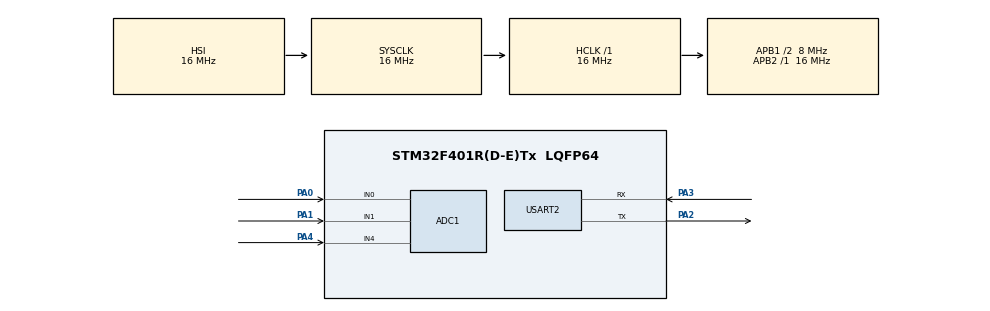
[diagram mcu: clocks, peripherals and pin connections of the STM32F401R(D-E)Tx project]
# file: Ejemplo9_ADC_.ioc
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ADC1.Channel-0\#ChannelRegularConversion=ADC_CHANNEL_0
ADC1.NbrOfConversionFlag=1
ADC1.Rank-0\#ChannelRegularConversion=1
ADC1.SamplingTime-0\#ChannelRegularConversion=ADC_SAMPLETIME_3CYCLES
ADC1.master=1
Mcu.Family=STM32F4
Mcu.Name=STM32F401R(D-E)Tx
Mcu.Package=LQFP64
NVIC.PriorityGroup=NVIC_PRIORITYGROUP_4
PA0-WKUP.Signal=ADCx_IN0
PA1.Signal=ADCx_IN1
PA13.Mode=Serial_Wire
PA13.Signal=SYS_JTMS-SWDIO
PA14.Mode=Serial_Wire
PA14.Signal=SYS_JTCK-SWCLK
PA2.Mode=Asynchronous
PA2.Signal=USART2_TX
PA3.Mode=Asynchronous
PA3.Signal=USART2_RX
PA4.Signal=ADCx_IN4
PH0\ -\ OSC_IN.Mode=HSE-External-Clock-Source
PH0\ -\ OSC_IN.Signal=RCC_OSC_IN
PH1\ -\ OSC_OUT.Mode=HSE-External-Clock-Source
PH1\ -\ OSC_OUT.Signal=RCC_OSC_OUT
ProjectManager.HeapSize=0x200
ProjectManager.StackSize=0x400
ProjectManager.TargetToolchain=STM32CubeIDE
RCC.48MHZClocksFreq_Value=84000000
RCC.AHBFreq_Value=16000000
RCC.APB1CLKDivider=RCC_HCLK_DIV2
RCC.APB1Freq_Value=8000000
RCC.APB1TimFreq_Value=16000000
RCC.APB2Freq_Value=16000000
RCC.APB2TimFreq_Value=16000000
RCC.CortexFreq_Value=16000000
RCC.HCLKFreq_Value=16000000
RCC.HSE_VALUE=8000000
RCC.HSI_VALUE=16000000
RCC.LSE_VALUE=32768
RCC.PLLM=4
RCC.PLLN=84
RCC.SYSCLKFreq_VALUE=16000000
RCC.VCOOutputFreq_Value=336000000
SH.ADCx_IN0.0=ADC1_IN0,IN0
SH.ADCx_IN1.0=ADC1_IN1,IN1
SH.ADCx_IN4.0=ADC1_IN4,IN4
USART2.VirtualMode=VM_ASYNC
board=custom

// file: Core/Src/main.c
/* USER CODE BEGIN Header */
/**
  ******************************************************************************
  * @file           : main.c
  * @brief          : Main program body
  ******************************************************************************
  * @attention
  *
  * Copyright (c) 2023 STMicroelectronics.
  * All rights reserved.
  *
  * This software is licensed under terms that can be found in the LICENSE file
  * in the root directory of this software component.
  * If no LICENSE file comes with this software, it is provided AS-IS.
  *
  ******************************************************************************
  */
/* USER CODE END Header */
#include "main.h"

/* USER CODE BEGIN Includes */
#include "stdio.h"
#include "string.h"
/* USER CODE END Includes */

ADC_HandleTypeDef hadc1;

UART_HandleTypeDef huart2;

void SystemClock_Config(void);
static void MX_GPIO_Init(void);
static void MX_ADC1_Init(void);
static void MX_USART2_UART_Init(void);

/* USER CODE BEGIN 0 */
int __io_putchar(int ch){

	  HAL_UART_Transmit(&huart2, (const uint8_t *)&ch, (uint16_t)1, HAL_MAX_DELAY);

	  return ch;
}
uint32_t AnalogRead(uint32_t channel){

	   uint32_t ADC_VALUE;

	  ADC_ChannelConfTypeDef sConfig = {0};

	    sConfig.Channel = channel;
	    sConfig.Rank = 1;
	    sConfig.SamplingTime = ADC_SAMPLETIME_3CYCLES;
	    if (HAL_ADC_ConfigChannel(&hadc1, &sConfig) != HAL_OK)
	    {
	      Error_Handler();
	    }
	    HAL_ADC_Start(&hadc1);
	    if(HAL_ADC_PollForConversion(&hadc1, 1000000)==HAL_OK){

	    	ADC_VALUE = HAL_ADC_GetValue(&hadc1);
	    }
	    HAL_ADC_Stop(&hadc1);
	    return ADC_VALUE;
}
uint16_t adc[3];
/* USER CODE END 0 */

int main(void)
{

  /* MCU Configuration--------------------------------------------------------*/

  /* Reset of all peripherals, Initializes the Flash interface and the Systick. */
  HAL_Init();

  /* Configure the system clock */
  SystemClock_Config();

  /* Initialize all configured peripherals */
  MX_GPIO_Init();
  MX_ADC1_Init();
  MX_USART2_UART_Init();

  /* Infinite loop */
  /* USER CODE BEGIN WHILE */
  while (1)
  {
		 adc[0] =  	AnalogRead(ADC_CHANNEL_0);
		 adc[1] = 	AnalogRead(ADC_CHANNEL_1);
		 adc[2] =	AnalogRead(ADC_CHANNEL_4);

		 printf("ADC0->%u   ADC1->%u   ADC4->%u   \n\r",adc[0],adc[1],adc[2]);
		 HAL_Delay(500);

    /* USER CODE END WHILE */

  }
}

void SystemClock_Config(void)
{
  RCC_OscInitTypeDef RCC_OscInitStruct = {0};
  RCC_ClkInitTypeDef RCC_ClkInitStruct = {0};

  /** Configure the main internal regulator output voltage
  */
  __HAL_RCC_PWR_CLK_ENABLE();
  __HAL_PWR_VOLTAGESCALING_CONFIG(PWR_REGULATOR_VOLTAGE_SCALE2);

  /** Initializes the RCC Oscillators according to the specified parameters
  * in the RCC_OscInitTypeDef structure.
  */
  RCC_OscInitStruct.OscillatorType = RCC_OSCILLATORTYPE_HSI;
  RCC_OscInitStruct.HSIState = RCC_HSI_ON;
  RCC_OscInitStruct.HSICalibrationValue = RCC_HSICALIBRATION_DEFAULT;
  RCC_OscInitStruct.PLL.PLLState = RCC_PLL_NONE;
  if (HAL_RCC_OscConfig(&RCC_OscInitStruct) != HAL_OK)
  {
    Error_Handler();
  }

  /** Initializes the CPU, AHB and APB buses clocks
  */
  RCC_ClkInitStruct.ClockType = RCC_CLOCKTYPE_HCLK|RCC_CLOCKTYPE_SYSCLK
                              |RCC_CLOCKTYPE_PCLK1|RCC_CLOCKTYPE_PCLK2;
  RCC_ClkInitStruct.SYSCLKSource = RCC_SYSCLKSOURCE_HSI;
  RCC_ClkInitStruct.AHBCLKDivider = RCC_SYSCLK_DIV1;
  RCC_ClkInitStruct.APB1CLKDivider = RCC_HCLK_DIV2;
  RCC_ClkInitStruct.APB2CLKDivider = RCC_HCLK_DIV1;

  if (HAL_RCC_ClockConfig(&RCC_ClkInitStruct, FLASH_LATENCY_0) != HAL_OK)
  {
    Error_Handler();
  }
}

static void MX_ADC1_Init(void)
{

  ADC_ChannelConfTypeDef sConfig = {0};

  /** Configure the global features of the ADC (Clock, Resolution, Data Alignment and number of conversion)
  */
  hadc1.Instance = ADC1;
  hadc1.Init.ClockPrescaler = ADC_CLOCK_SYNC_PCLK_DIV2;
  hadc1.Init.Resolution = ADC_RESOLUTION_12B;
  hadc1.Init.ScanConvMode = DISABLE;
  hadc1.Init.ContinuousConvMode = DISABLE;
  hadc1.Init.DiscontinuousConvMode = DISABLE;
  hadc1.Init.ExternalTrigConvEdge = ADC_EXTERNALTRIGCONVEDGE_NONE;
  hadc1.Init.ExternalTrigConv = ADC_SOFTWARE_START;
  hadc1.Init.DataAlign = ADC_DATAALIGN_RIGHT;
  hadc1.Init.NbrOfConversion = 1;
  hadc1.Init.DMAContinuousRequests = DISABLE;
  hadc1.Init.EOCSelection = ADC_EOC_SINGLE_CONV;
  if (HAL_ADC_Init(&hadc1) != HAL_OK)
  {
    Error_Handler();
  }

  /** Configure for the selected ADC regular channel its corresponding rank in the sequencer and its sample time.
  */
  sConfig.Channel = ADC_CHANNEL_0;
  sConfig.Rank = 1;
  sConfig.SamplingTime = ADC_SAMPLETIME_3CYCLES;
  if (HAL_ADC_ConfigChannel(&hadc1, &sConfig) != HAL_OK)
  {
    Error_Handler();
  }

}

static void MX_USART2_UART_Init(void)
{

  huart2.Instance = USART2;
  huart2.Init.BaudRate = 115200;
  huart2.Init.WordLength = UART_WORDLENGTH_8B;
  huart2.Init.StopBits = UART_STOPBITS_1;
  huart2.Init.Parity = UART_PARITY_NONE;
  huart2.Init.Mode = UART_MODE_TX_RX;
  huart2.Init.HwFlowCtl = UART_HWCONTROL_NONE;
  huart2.Init.OverSampling = UART_OVERSAMPLING_16;
  if (HAL_UART_Init(&huart2) != HAL_OK)
  {
    Error_Handler();
  }

}

static void MX_GPIO_Init(void)
{

  /* GPIO Ports Clock Enable */
  __HAL_RCC_GPIOH_CLK_ENABLE();
  __HAL_RCC_GPIOA_CLK_ENABLE();

}

void Error_Handler(void)
{
  __disable_irq();
  while (1)
  {
  }
}
